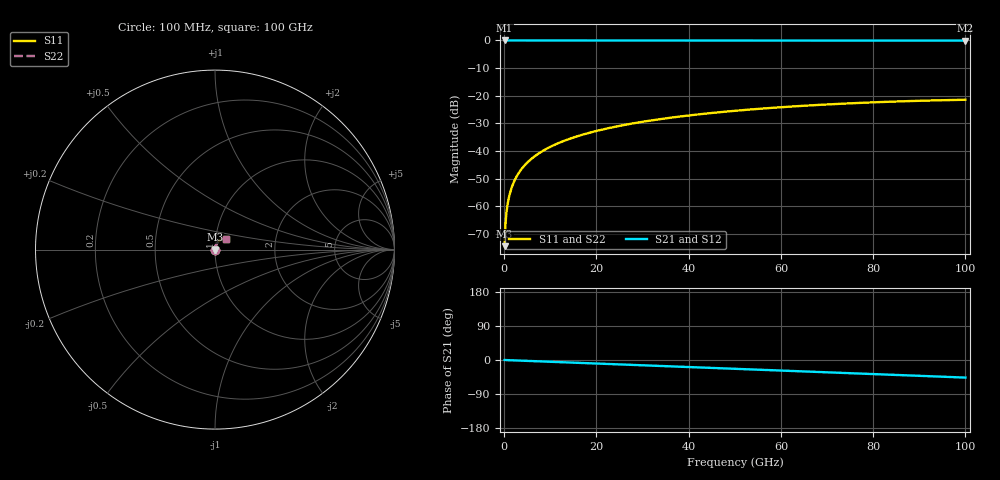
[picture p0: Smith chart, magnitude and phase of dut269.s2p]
! Touchstone file exported from HFSS 2026.1.0
!  File:  C:/ffzhzh/LocalFiles/Ansys_Project_Files/temp_train_TSV_269_1783508631_31944.aedt
!  Generated:  07:05:09 PM Jul  8, 2026
!  Design:  TSV
!  Project:  temp_train_TSV_269_1783508631_31944
! Variables:
!  h_bsmrdl = 2um
!  h_ox = 20um
!  h_rdl = 5um
!  h_sub = 90.11um
!  h_tmrdl = 5um
!  h_tsv = 90.11um
!  h_via = 3um
!  l_bsmrdl = 300um
!  l_sub = 424.52um
!  l_tmrdl = 200um
!  m_sub = 200um
!  pitch = 57.8um
!  r_tsv = 12.26um
!  s_tmrdl = 10um
!  w_bsmrdl = 18um
!  w_sub = 500um
!  w_tmrdl = 12um
!  x_tsv_center1 = 206um
!  x_tsv_center2 = 524um
!  x_tsv_center3 = 736um
!  x_tsv_center4 = 1054um
!  x_tsv_center5 = 1266um
!  x_tsv_center6 = 1584um
# GHz S MA R 50.000000
! Terminal data exported
! Port[1] = TSV1_1_T1
! Port[2] = TSV1_1_T2
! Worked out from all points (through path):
!   1000 points, 100 MHz to 100 GHz, reference 50 ohm
!   highest |S21| = 0.00 dB at 100 MHz (marker M1); lowest = -0.1 dB at 100 GHz (marker M2)
!   group delay of S21, straight-line fit = 1.29 ps
!   lowest |S11| = -74.5 dB at 100 MHz (marker M3), VSWR 1.00, Z = 50 + j0.0159 ohm
!   |S11| at or under -10 dB: start of sweep to end of sweep
!   |S22| runs from -74.5 to -21.5 dB; largest |S21 - S12| = 3.8e-15
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0.1  0.0001883 57.8  0.9999 -0.0  0.9999 -0.0  0.0001883 57.8
! Gamma 0 0 0 0
! Port Impedance 50 0 50 0
0.3  0.0004819 73.6  0.9999 -0.1  0.9999 -0.1  0.0004819 73.6
0.7  0.001019 77.2  0.9998 -0.3  0.9998 -0.3  0.001019 77.2
0.8  0.001145 77.6  0.9998 -0.4  0.9998 -0.4  0.001145 77.6
1  0.001391 78.5  0.9997 -0.5  0.9997 -0.5  0.001391 78.5
1.3  0.001757 79.5  0.9997 -0.6  0.9997 -0.6  0.001757 79.5
1.8  0.002361 80.6  0.9996 -0.9  0.9996 -0.9  0.002361 80.6
2.3  0.002961 81.2  0.9996 -1.1  0.9996 -1.1  0.002961 81.2
3  0.003791 81.7  0.9995 -1.4  0.9995 -1.4  0.003791 81.7
3.8  0.004729 82.0  0.9995 -1.8  0.9995 -1.8  0.004729 82.0
4.8  0.00589 82.1  0.9994 -2.2  0.9994 -2.2  0.00589 82.1
6  0.007273 82.1  0.9993 -2.8  0.9993 -2.8  0.007273 82.1
8.8  0.01048 81.6  0.9992 -4.1  0.9992 -4.1  0.01048 81.6
12.4  0.01454 80.5  0.9989 -5.8  0.9989 -5.8  0.01454 80.5
16.8  0.01944 78.9  0.9987 -7.8  0.9987 -7.8  0.01944 78.9
24.2  0.02751 76.0  0.9983 -11.2  0.9983 -11.2  0.02751 76.0
33.4  0.03718 72.2  0.9978 -15.5  0.9978 -15.5  0.03718 72.2
41.2  0.04497 68.8  0.9973 -19.1  0.9973 -19.1  0.04497 68.8
50.1  0.05331 64.8  0.9967 -23.2  0.9967 -23.2  0.05331 64.8
66.7  0.06697 57.4  0.9955 -30.9  0.9955 -30.9  0.06697 57.4
83.4  0.07764 49.8  0.9944 -38.7  0.9944 -38.7  0.07763 49.8
100  0.08435 42.3  0.9934 -46.4  0.9934 -46.4  0.08435 42.3
